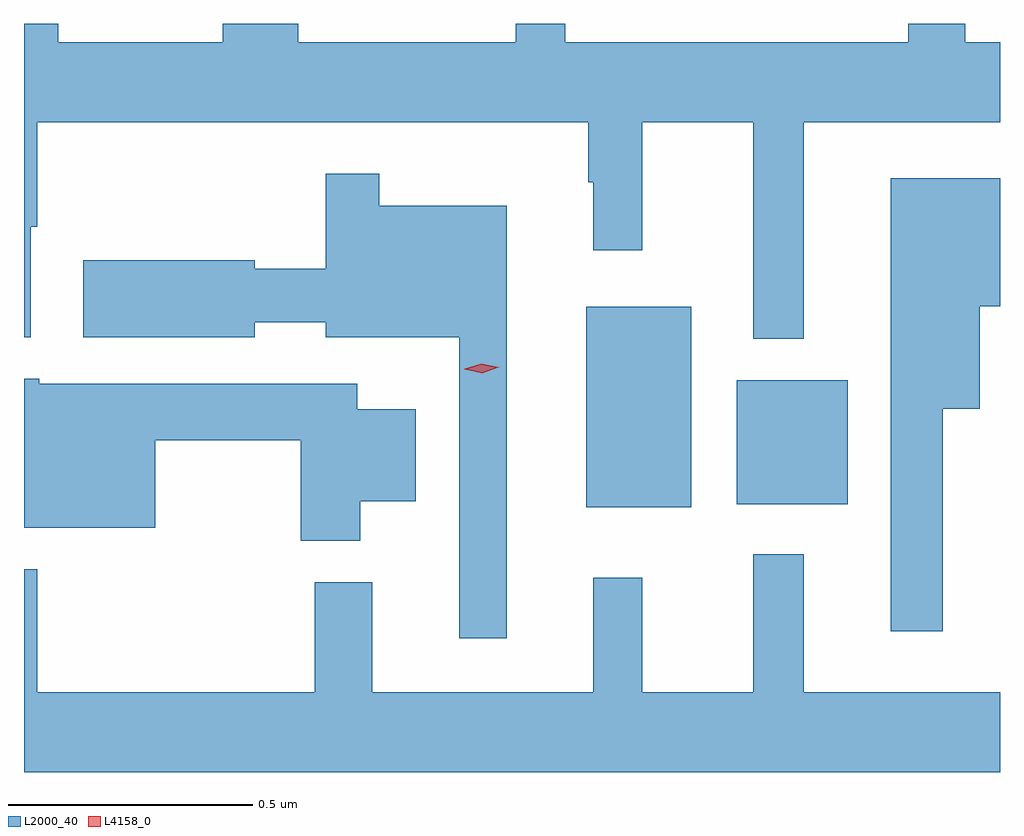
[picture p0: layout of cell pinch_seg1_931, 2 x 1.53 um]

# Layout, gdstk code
import gdstk
lib = gdstk.Library(unit=1e-6, precision=1e-09)
def R(c, l, rs):  # rectangles x0, y0, x1, y1
    for r in rs: c.add(gdstk.rectangle(r[:2], r[2:], *l))
def P(c, l, *ps):  # polygons
    for p in ps: c.add(gdstk.Polygon(p, *l))
L2000_40 = (2000, 40)
L4158_0 = (4158, 0)

pinch_seg1_931 = lib.new_cell('pinch_seg1_931')
R(pinch_seg1_931, L2000_40, [(570.203,524.303,570.418,524.713), (570.512,524.309,570.739,524.563)])
P(pinch_seg1_931, L2000_40, [(569.458,525.293),(569.458,525.256),(569.121,525.256),(569.121,525.293),(569.051,525.293),(569.051,524.651),(569.065,524.651),(569.065,524.877),(569.078,524.877),(569.078,525.092),(570.207,525.092),(570.207,524.969),(570.218,524.969),(570.218,524.829),(570.318,524.829),(570.318,525.092),(570.545,525.092),(570.545,524.648),(570.649,524.648),(570.649,525.092),(571.051,525.092),(571.051,525.256),(570.98,525.256),(570.98,525.293),(570.863,525.293),(570.863,525.256),(570.16,525.256),(570.16,525.293),(570.059,525.293),(570.059,525.256),(569.613,525.256),(569.613,525.293)],
  [(570.04,524.92),(569.779,524.92),(569.779,524.986),(569.669,524.986),(569.669,524.791),(569.524,524.791),(569.524,524.809),(569.172,524.809),(569.172,524.651),(569.524,524.651),(569.524,524.682),(569.669,524.682),(569.669,524.651),(569.943,524.651),(569.943,524.034),(570.04,524.034)],
  [(570.934,524.504),(571.009,524.504),(571.009,524.714),(571.051,524.714),(571.051,524.977),(570.827,524.977),(570.827,524.049),(570.934,524.049)],
  [(569.74,524.315),(569.854,524.315),(569.854,524.503),(569.734,524.503),(569.734,524.556),(569.082,524.556),(569.082,524.566),(569.051,524.566),(569.051,524.261),(569.32,524.261),(569.32,524.44),(569.618,524.44),(569.618,524.234),(569.74,524.234)],
  [(571.051,523.924),(570.649,523.924),(570.649,524.206),(570.545,524.206),(570.545,523.924),(570.318,523.924),(570.318,524.158),(570.218,524.158),(570.218,523.924),(569.765,523.924),(569.765,524.149),(569.647,524.149),(569.647,523.924),(569.078,523.924),(569.078,524.176),(569.051,524.176),(569.051,523.76),(571.051,523.76)])
P(pinch_seg1_931, L4158_0, [(569.99,524.577),(569.954,524.585),(569.953,524.585),(569.954,524.586),(569.988,524.597),(570.024,524.59),(570.025,524.59),(570.024,524.589)])

lib.write_gds('pinch_seg1_931.gds')
